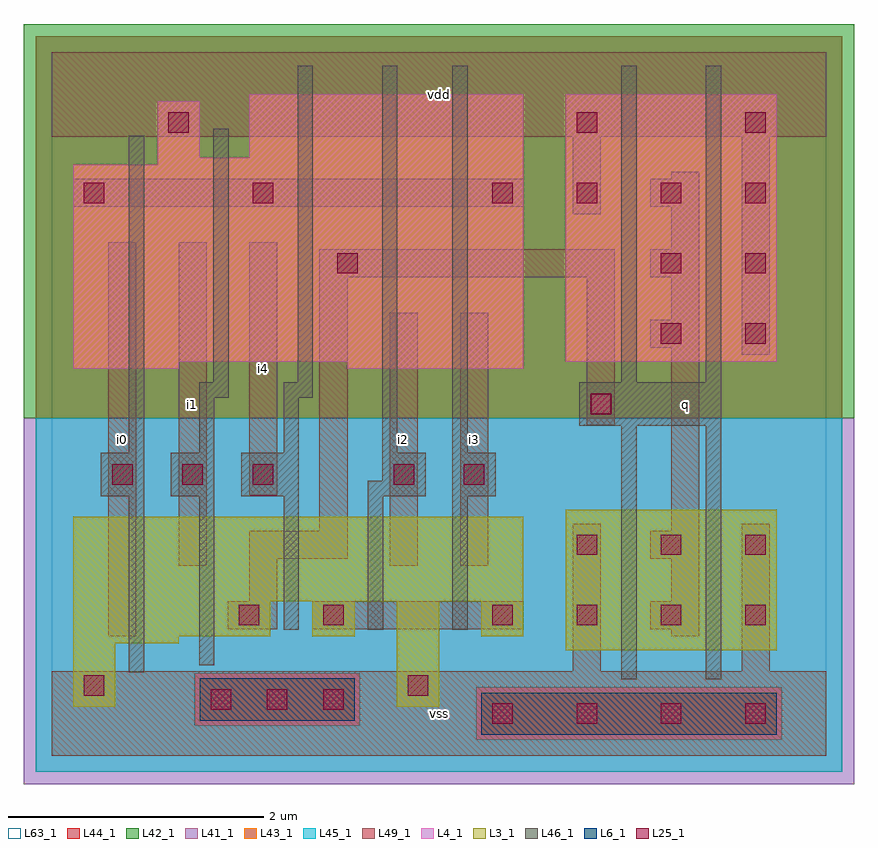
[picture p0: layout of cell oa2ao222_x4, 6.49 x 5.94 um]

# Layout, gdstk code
import gdstk
lib = gdstk.Library(unit=1e-6, precision=1e-09)
def R(c, l, rs):  # rectangles x0, y0, x1, y1
    for r in rs: c.add(gdstk.rectangle(r[:2], r[2:], *l))
def A(c, l, x, y, w, h, nx, ny, dx, dy):  # array of equal rectangles
    R(c, l, [(x+i*dx, y+j*dy, x+i*dx+w, y+j*dy+h) for i in range(nx) for j in range(ny)])
L3_1 = (3, 1)
L4_1 = (4, 1)
L6_1 = (6, 1)
L25_1 = (25, 1)
L41_1 = (41, 1)
L42_1 = (42, 1)
L43_1 = (43, 1)
L44_1 = (44, 1)
L45_1 = (45, 1)
L46_1 = (46, 1)
L49_1 = (49, 1)
L63_1 = (63, 1)

oa2ao222_x4 = lib.new_cell('oa2ao222_x4')
R(oa2ao222_x4, L3_1, [(0.165,0.385,0.495,0.88), (2.695,0.385,3.025,1.21), (4.015,0.825,5.665,1.925), (0.165,0.88,0.99,0.935), (0.165,0.935,1.705,1.21), (2.035,0.935,2.365,1.21), (3.355,0.935,3.685,1.21), (0.165,1.21,3.685,1.87)])
R(oa2ao222_x4, L4_1, [(0.165,3.025,0.99,3.08), (2.31,3.025,3.685,3.08), (0.165,3.08,3.685,4.62), (4.015,3.08,5.665,5.17), (0.825,4.62,3.685,4.675), (0.825,4.675,1.155,5.115), (1.54,4.675,3.685,5.17)])
R(oa2ao222_x4, L6_1, [(3.355,0.165,5.665,0.495), (1.155,0.275,2.365,0.605)])
A(oa2ao222_x4, L25_1, 3.44, 0.25, 0.16, 0.16, 4, 2, 0.66, 0.77)
A(oa2ao222_x4, L25_1, 1.24, 0.36, 0.16, 0.16, 3, 1, 0.44, 0)
A(oa2ao222_x4, L25_1, 4.1, 1.57, 0.16, 0.16, 3, 1, 0.66, 0)
A(oa2ao222_x4, L25_1, 0.47, 2.12, 0.16, 0.16, 3, 1, 0.55, 0)
A(oa2ao222_x4, L25_1, 3.44, 4.32, 0.16, 0.16, 4, 1, 0.66, 0)
R(oa2ao222_x4, L25_1, [(0.25,0.47,0.41,0.63), (2.78,0.47,2.94,0.63), (1.46,1.02,1.62,1.18), (2.12,1.02,2.28,1.18), (2.67,2.12,2.83,2.28), (3.22,2.12,3.38,2.28), (4.21,2.67,4.37,2.83), (4.76,3.22,4.92,3.38), (5.42,3.22,5.58,3.38), (2.23,3.77,2.39,3.93), (4.76,3.77,4.92,3.93), (5.42,3.77,5.58,3.93), (0.25,4.32,0.41,4.48), (1.57,4.32,1.73,4.48), (0.91,4.87,1.07,5.03), (4.1,4.87,4.26,5.03), (5.42,4.87,5.58,5.03)])
R(oa2ao222_x4, L41_1, [(-0.22,-0.22,6.27,2.64)])
R(oa2ao222_x4, L42_1, [(-0.22,2.64,6.27,5.72)])
R(oa2ao222_x4, L43_1, [(3.355,0.165,5.665,0.495), (1.155,0.275,2.365,0.605), (0.165,0.385,0.495,0.88), (2.695,0.385,3.025,1.21), (4.015,0.825,5.665,1.925), (0.165,0.88,0.99,0.935), (0.165,0.935,1.705,1.21), (2.035,0.935,2.365,1.21), (3.355,0.935,3.685,1.21), (0.165,1.21,3.685,1.87), (0.165,3.025,0.99,3.08), (2.31,3.025,3.685,3.08), (0.165,3.08,3.685,4.62), (4.015,3.08,5.665,5.17), (0.825,4.62,3.685,4.675), (0.825,4.675,1.155,5.115), (1.54,4.675,3.685,5.17)])
R(oa2ao222_x4, L44_1, [(3.315,0.125,5.705,0.535), (1.115,0.235,2.405,0.645), (-0.125,2.64,6.175,5.625)])
R(oa2ao222_x4, L45_1, [(-0.125,-0.125,6.175,0.125), (-0.125,0.125,3.315,0.235), (5.705,0.125,6.175,0.535), (-0.125,0.235,1.115,0.645), (2.405,0.235,3.315,0.535), (2.405,0.535,6.175,0.645), (-0.125,0.645,6.175,2.64)])
A(oa2ao222_x4, L46_1, 1.81, 0.985, 0.12, 1.045, 3, 1, 0.66, 0)
R(oa2ao222_x4, L46_1, [(4.45,0.6,4.57,2.58), (5.11,0.6,5.23,2.58), (0.6,0.655,0.72,2.03), (1.15,0.71,1.27,2.03), (0.38,2.03,0.72,2.37), (0.93,2.03,1.27,2.37), (1.48,2.03,1.93,2.37), (2.47,2.03,2.92,2.15), (3.13,2.03,3.47,2.37), (2.58,2.15,2.92,2.37), (0.6,2.37,0.72,4.845), (1.15,2.37,1.27,2.8), (1.81,2.37,1.93,2.8), (2.58,2.37,2.7,5.395), (3.13,2.37,3.25,5.395), (4.12,2.58,5.23,2.92), (1.15,2.8,1.38,2.92), (1.81,2.8,2.04,2.92), (1.26,2.92,1.38,4.9), (1.92,2.92,2.04,5.395), (4.45,2.92,4.57,5.395), (5.11,2.92,5.23,5.395)])
A(oa2ao222_x4, L49_1, 4.675, 3.19, 0.385, 0.22, 1, 3, 0, 0.55)
R(oa2ao222_x4, L49_1, [(0,0,6.05,0.66), (4.07,0.66,4.29,1.815), (5.39,0.66,5.61,1.815), (0.44,0.935,0.66,4.015), (4.84,0.935,5.06,0.99), (1.375,0.99,1.76,1.21), (2.035,0.99,3.685,1.21), (4.675,0.99,5.06,1.21), (1.54,1.21,1.76,1.54), (4.84,1.21,5.06,1.54), (0.99,1.485,1.21,4.015), (2.64,1.485,2.86,3.465), (3.19,1.485,3.41,3.465), (1.54,1.54,2.31,1.76), (4.675,1.54,5.06,1.76), (2.09,1.76,2.31,3.74), (4.84,1.76,5.06,3.19), (1.54,2.035,1.76,4.015), (4.18,2.585,4.4,3.74), (5.39,3.135,5.61,4.84), (4.84,3.41,5.06,3.74), (2.09,3.74,4.4,3.96), (4.84,3.96,5.06,4.29), (4.07,4.235,4.29,4.84), (0.165,4.29,3.685,4.51), (4.84,4.51,5.06,4.565), (0,4.84,6.05,5.5)])
R(oa2ao222_x4, L63_1, [(0,0,6.05,5.5)])
oa2ao222_x4.add(gdstk.Label('i0', (0.55,2.475), layer=49, texttype=1))
oa2ao222_x4.add(gdstk.Label('i1', (1.1,2.75), layer=49, texttype=1))
oa2ao222_x4.add(gdstk.Label('i4', (1.65,3.025), layer=49, texttype=1))
oa2ao222_x4.add(gdstk.Label('vss', (3.025,0.33), layer=49, texttype=1))
oa2ao222_x4.add(gdstk.Label('i3', (3.3,2.475), layer=49, texttype=1))
oa2ao222_x4.add(gdstk.Label('i2', (2.75,2.475), layer=49, texttype=1))
oa2ao222_x4.add(gdstk.Label('vdd', (3.025,5.17), layer=49, texttype=1))
oa2ao222_x4.add(gdstk.Label('q', (4.95,2.75), layer=49, texttype=1))

lib.write_gds('oa2ao222_x4.gds')
